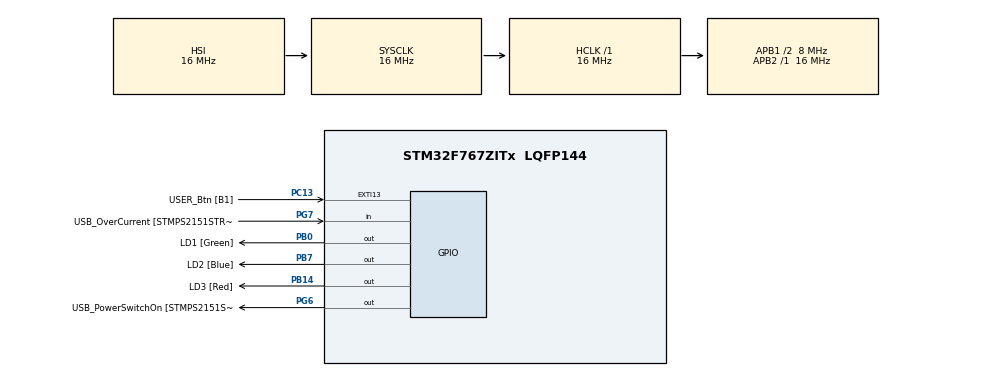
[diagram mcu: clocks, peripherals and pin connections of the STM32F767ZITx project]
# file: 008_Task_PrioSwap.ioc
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Mcu.Family=STM32F7
Mcu.Name=STM32F767ZITx
Mcu.Package=LQFP144
NVIC.EXTI15_10_IRQn=true\:7\:0\:true\:false\:true\:true\:true\:true
NVIC.PriorityGroup=NVIC_PRIORITYGROUP_4
NVIC.TIM6_DAC_IRQn=true\:15\:0\:false\:false\:true\:false\:true\:true
NVIC.TimeBase=TIM6_DAC_IRQn
NVIC.TimeBaseIP=TIM6
PA1.GPIO_Label=RMII_REF_CLK [LAN8742A-CZ-TR_REFCLK0]
PA1.Signal=ETH_REF_CLK
PA10.GPIO_Label=USB_ID
PA10.Signal=USB_OTG_FS_ID
PA11.GPIO_Label=USB_DM
PA11.Signal=USB_OTG_FS_DM
PA12.GPIO_Label=USB_DP
PA12.Signal=USB_OTG_FS_DP
PA13.GPIO_Label=TMS
PA13.Signal=SYS_JTMS-SWDIO
PA14.GPIO_Label=TCK
PA14.Signal=SYS_JTCK-SWCLK
PA2.GPIO_Label=RMII_MDIO [LAN8742A-CZ-TR_MDIO]
PA2.Signal=ETH_MDIO
PA7.GPIO_Label=RMII_CRS_DV [LAN8742A-CZ-TR_CRS_DV]
PA7.Signal=ETH_CRS_DV
PA8.GPIO_Label=USB_SOF [TP1]
PA8.Signal=USB_OTG_FS_SOF
PA9.GPIO_Label=USB_VBUS
PA9.Signal=USB_OTG_FS_VBUS
PB0.GPIO_Label=LD1 [Green]
PB0.Signal=GPIO_Output
PB13.GPIO_Label=RMII_TXD1 [LAN8742A-CZ-TR_TXD1]
PB13.Signal=ETH_TXD1
PB14.GPIO_Label=LD3 [Red]
PB14.Signal=GPIO_Output
PB3.GPIO_Label=SW0
PB3.Signal=SYS_JTDO-SWO
PB7.GPIO_Label=LD2 [Blue]
PB7.Signal=GPIO_Output
PC1.GPIO_Label=RMII_MDC [LAN8742A-CZ-TR_MDC]
PC1.Signal=ETH_MDC
PC13.GPIO_Label=USER_Btn [B1]
PC13.GPIO_ModeDefaultEXTI=GPIO_MODE_IT_FALLING
PC13.Signal=GPXTI13
PC14/OSC32_IN.Signal=RCC_OSC32_IN
PC15/OSC32_OUT.Signal=RCC_OSC32_OUT
PC4.GPIO_Label=RMII_RXD0 [LAN8742A-CZ-TR_RXD0]
PC4.Signal=ETH_RXD0
PC5.GPIO_Label=RMII_RXD1 [LAN8742A-CZ-TR_RXD1]
PC5.Signal=ETH_RXD1
PD8.GPIO_Label=STLK_RX [STM32F103CBT6_PA3]
PD8.Signal=USART3_TX
PD9.GPIO_Label=STLK_TX [STM32F103CBT6_PA2]
PD9.Signal=USART3_RX
PG11.GPIO_Label=RMII_TX_EN [LAN8742A-CZ-TR_TXEN]
PG11.Signal=ETH_TX_EN
PG13.GPIO_Label=RMII_TXD0 [LAN8742A-CZ-TR_TXD0]
PG13.Signal=ETH_TXD0
PG6.GPIO_Label=USB_PowerSwitchOn [STMPS2151STR_EN]
PG6.Signal=GPIO_Output
PG7.GPIO_Label=USB_OverCurrent [STMPS2151STR_FAULT]
PG7.Signal=GPIO_Input
PH0/OSC_IN.GPIO_Label=MCO [STM32F103CBT6_PA8]
PH0/OSC_IN.Signal=RCC_OSC_IN
PH1/OSC_OUT.Signal=RCC_OSC_OUT
ProjectManager.HeapSize=0x200
ProjectManager.StackSize=0x400
ProjectManager.TargetToolchain=STM32CubeIDE
RCC.48MHZClocksFreq_Value=24000000
RCC.AHBFreq_Value=16000000
RCC.APB1CLKDivider=RCC_HCLK_DIV2
RCC.APB1Freq_Value=8000000
RCC.APB1TimFreq_Value=16000000
RCC.APB2Freq_Value=16000000
RCC.APB2TimFreq_Value=16000000
RCC.CortexFreq_Value=16000000
RCC.HCLKFreq_Value=16000000
RCC.HSE_VALUE=16000000
RCC.HSI_VALUE=16000000
RCC.LSE_VALUE=32768
RCC.PLLMUL=RCC_PLL_MUL9
RCC.PRESCALERUSB=RCC_USBCLKSOURCE_PLL_DIV1_5
RCC.SYSCLKFreq_VALUE=16000000
RCC.SYSCLKSourceVirtual=RCC_SYSCLKSOURCE_PLLCLK
RCC.USBFreq_Value=96000000
RCC.VCOOutputFreq_Value=192000000
VP_SYS_VS_tim6.Mode=TIM6
board=NUCLEO-F767ZI

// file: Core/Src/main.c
/* USER CODE BEGIN Header */
/**
 ******************************************************************************
 * @file           : main.c
 * @brief          : Main program body
 ******************************************************************************
 * @attention
 *
 * Copyright (c) 2025 STMicroelectronics.
 * All rights reserved.
 *
 * This software is licensed under terms that can be found in the LICENSE file
 * in the root directory of this software component.
 * If no LICENSE file comes with this software, it is provided AS-IS.
 *
 ******************************************************************************
 */
/* USER CODE END Header */
#include "main.h"

/* USER CODE BEGIN Includes */
#include "stdio.h"
#include "FreeRTOS.h"
#include "task.h"

/* USER CODE END Includes */

/* USER CODE BEGIN PTD */
extern void button_interrupt_handler(void);

/* USER CODE END PTD */

/* USER CODE BEGIN PV */
#define DWT_CTRL					 (*(volatile uint32_t *)0xE0001000)

volatile BaseType_t status_button = 0;

/* USER CODE END PV */

void SystemClock_Config(void);
static void MX_GPIO_Init(void);
/* USER CODE BEGIN PFP */
static void led_green_handler(void* parameters);
static void led_red_handler(void* parameters);

extern void button_interrupt_handler(void);

TaskHandle_t ledg_handle;
TaskHandle_t ledr_handle;

/* USER CODE END PFP */

int main(void)
{

	/* USER CODE BEGIN 1 */

	BaseType_t status;

	/* USER CODE END 1 */

	/* MCU Configuration--------------------------------------------------------*/

	/* Reset of all peripherals, Initializes the Flash interface and the Systick. */
	HAL_Init();

	/* Configure the system clock */
	SystemClock_Config();

	/* Initialize all configured peripherals */
	MX_GPIO_Init();
	/* USER CODE BEGIN 2 */
	/* Enable the CYcle counting */
	DWT_CTRL |= (1 << 0);

	SEGGER_UART_init(250000);

	SEGGER_SYSVIEW_Conf();
	//SEGGER_SYSVIEW_Start();

	status = xTaskCreate(led_green_handler, "G_Task", 200, NULL, 3, &ledg_handle);

	configASSERT(status = pdPASS);

	status = xTaskCreate(led_red_handler, "R_Task", 200, NULL, 2, &ledr_handle);

	configASSERT(status = pdPASS);

	//STart the FreeRTOS Scheduler
	vTaskStartScheduler();

	/* USER CODE END 2 */

	/* Infinite loop */
	while (1)
	{

	}
}

void SystemClock_Config(void)
{
	RCC_OscInitTypeDef RCC_OscInitStruct = {0};
	RCC_ClkInitTypeDef RCC_ClkInitStruct = {0};

	/** Configure the main internal regulator output voltage
	 */
	__HAL_RCC_PWR_CLK_ENABLE();
	__HAL_PWR_VOLTAGESCALING_CONFIG(PWR_REGULATOR_VOLTAGE_SCALE3);

	/** Initializes the RCC Oscillators according to the specified parameters
	 * in the RCC_OscInitTypeDef structure.
	 */
	RCC_OscInitStruct.OscillatorType = RCC_OSCILLATORTYPE_HSI;
	RCC_OscInitStruct.HSIState = RCC_HSI_ON;
	RCC_OscInitStruct.HSICalibrationValue = RCC_HSICALIBRATION_DEFAULT;
	RCC_OscInitStruct.PLL.PLLState = RCC_PLL_NONE;
	if (HAL_RCC_OscConfig(&RCC_OscInitStruct) != HAL_OK)
	{
		Error_Handler();
	}

	/** Initializes the CPU, AHB and APB buses clocks
	 */
	RCC_ClkInitStruct.ClockType = RCC_CLOCKTYPE_HCLK|RCC_CLOCKTYPE_SYSCLK
			|RCC_CLOCKTYPE_PCLK1|RCC_CLOCKTYPE_PCLK2;
	RCC_ClkInitStruct.SYSCLKSource = RCC_SYSCLKSOURCE_HSI;
	RCC_ClkInitStruct.AHBCLKDivider = RCC_SYSCLK_DIV1;
	RCC_ClkInitStruct.APB1CLKDivider = RCC_HCLK_DIV2;
	RCC_ClkInitStruct.APB2CLKDivider = RCC_HCLK_DIV1;

	if (HAL_RCC_ClockConfig(&RCC_ClkInitStruct, FLASH_LATENCY_0) != HAL_OK)
	{
		Error_Handler();
	}
}

static void MX_GPIO_Init(void)
{
	GPIO_InitTypeDef GPIO_InitStruct = {0};

	/* GPIO Ports Clock Enable */
	__HAL_RCC_GPIOC_CLK_ENABLE();
	__HAL_RCC_GPIOH_CLK_ENABLE();
	__HAL_RCC_GPIOA_CLK_ENABLE();
	__HAL_RCC_GPIOB_CLK_ENABLE();
	__HAL_RCC_GPIOD_CLK_ENABLE();
	__HAL_RCC_GPIOG_CLK_ENABLE();

	/*Configure GPIO pin Output Level */
	HAL_GPIO_WritePin(GPIOB, LD1_Pin|LD3_Pin|LD2_Pin, GPIO_PIN_RESET);

	/*Configure GPIO pin Output Level */
	HAL_GPIO_WritePin(USB_PowerSwitchOn_GPIO_Port, USB_PowerSwitchOn_Pin, GPIO_PIN_RESET);

	/*Configure GPIO pin : USER_Btn_Pin */
	GPIO_InitStruct.Pin = USER_Btn_Pin;
	GPIO_InitStruct.Mode = GPIO_MODE_IT_FALLING;
	GPIO_InitStruct.Pull = GPIO_NOPULL;
	HAL_GPIO_Init(USER_Btn_GPIO_Port, &GPIO_InitStruct);

	/*Configure GPIO pins : RMII_MDC_Pin RMII_RXD0_Pin RMII_RXD1_Pin */
	GPIO_InitStruct.Pin = RMII_MDC_Pin|RMII_RXD0_Pin|RMII_RXD1_Pin;
	GPIO_InitStruct.Mode = GPIO_MODE_AF_PP;
	GPIO_InitStruct.Pull = GPIO_NOPULL;
	GPIO_InitStruct.Speed = GPIO_SPEED_FREQ_VERY_HIGH;
	GPIO_InitStruct.Alternate = GPIO_AF11_ETH;
	HAL_GPIO_Init(GPIOC, &GPIO_InitStruct);

	/*Configure GPIO pins : RMII_REF_CLK_Pin RMII_MDIO_Pin RMII_CRS_DV_Pin */
	GPIO_InitStruct.Pin = RMII_REF_CLK_Pin|RMII_MDIO_Pin|RMII_CRS_DV_Pin;
	GPIO_InitStruct.Mode = GPIO_MODE_AF_PP;
	GPIO_InitStruct.Pull = GPIO_NOPULL;
	GPIO_InitStruct.Speed = GPIO_SPEED_FREQ_VERY_HIGH;
	GPIO_InitStruct.Alternate = GPIO_AF11_ETH;
	HAL_GPIO_Init(GPIOA, &GPIO_InitStruct);

	/*Configure GPIO pins : LD1_Pin LD3_Pin LD2_Pin */
	GPIO_InitStruct.Pin = LD1_Pin|LD3_Pin|LD2_Pin;
	GPIO_InitStruct.Mode = GPIO_MODE_OUTPUT_PP;
	GPIO_InitStruct.Pull = GPIO_NOPULL;
	GPIO_InitStruct.Speed = GPIO_SPEED_FREQ_LOW;
	HAL_GPIO_Init(GPIOB, &GPIO_InitStruct);

	/*Configure GPIO pin : RMII_TXD1_Pin */
	GPIO_InitStruct.Pin = RMII_TXD1_Pin;
	GPIO_InitStruct.Mode = GPIO_MODE_AF_PP;
	GPIO_InitStruct.Pull = GPIO_NOPULL;
	GPIO_InitStruct.Speed = GPIO_SPEED_FREQ_VERY_HIGH;
	GPIO_InitStruct.Alternate = GPIO_AF11_ETH;
	HAL_GPIO_Init(RMII_TXD1_GPIO_Port, &GPIO_InitStruct);

	/*Configure GPIO pins : STLK_RX_Pin STLK_TX_Pin */
	GPIO_InitStruct.Pin = STLK_RX_Pin|STLK_TX_Pin;
	GPIO_InitStruct.Mode = GPIO_MODE_AF_PP;
	GPIO_InitStruct.Pull = GPIO_NOPULL;
	GPIO_InitStruct.Speed = GPIO_SPEED_FREQ_VERY_HIGH;
	GPIO_InitStruct.Alternate = GPIO_AF7_USART3;
	HAL_GPIO_Init(GPIOD, &GPIO_InitStruct);

	/*Configure GPIO pin : USB_PowerSwitchOn_Pin */
	GPIO_InitStruct.Pin = USB_PowerSwitchOn_Pin;
	GPIO_InitStruct.Mode = GPIO_MODE_OUTPUT_PP;
	GPIO_InitStruct.Pull = GPIO_NOPULL;
	GPIO_InitStruct.Speed = GPIO_SPEED_FREQ_LOW;
	HAL_GPIO_Init(USB_PowerSwitchOn_GPIO_Port, &GPIO_InitStruct);

	/*Configure GPIO pin : USB_OverCurrent_Pin */
	GPIO_InitStruct.Pin = USB_OverCurrent_Pin;
	GPIO_InitStruct.Mode = GPIO_MODE_INPUT;
	GPIO_InitStruct.Pull = GPIO_NOPULL;
	HAL_GPIO_Init(USB_OverCurrent_GPIO_Port, &GPIO_InitStruct);

	/*Configure GPIO pins : USB_SOF_Pin USB_ID_Pin USB_DM_Pin USB_DP_Pin */
	GPIO_InitStruct.Pin = USB_SOF_Pin|USB_ID_Pin|USB_DM_Pin|USB_DP_Pin;
	GPIO_InitStruct.Mode = GPIO_MODE_AF_PP;
	GPIO_InitStruct.Pull = GPIO_NOPULL;
	GPIO_InitStruct.Speed = GPIO_SPEED_FREQ_VERY_HIGH;
	GPIO_InitStruct.Alternate = GPIO_AF10_OTG_FS;
	HAL_GPIO_Init(GPIOA, &GPIO_InitStruct);

	/*Configure GPIO pin : USB_VBUS_Pin */
	GPIO_InitStruct.Pin = USB_VBUS_Pin;
	GPIO_InitStruct.Mode = GPIO_MODE_INPUT;
	GPIO_InitStruct.Pull = GPIO_NOPULL;
	HAL_GPIO_Init(USB_VBUS_GPIO_Port, &GPIO_InitStruct);

	/*Configure GPIO pins : RMII_TX_EN_Pin RMII_TXD0_Pin */
	GPIO_InitStruct.Pin = RMII_TX_EN_Pin|RMII_TXD0_Pin;
	GPIO_InitStruct.Mode = GPIO_MODE_AF_PP;
	GPIO_InitStruct.Pull = GPIO_NOPULL;
	GPIO_InitStruct.Speed = GPIO_SPEED_FREQ_VERY_HIGH;
	GPIO_InitStruct.Alternate = GPIO_AF11_ETH;
	HAL_GPIO_Init(GPIOG, &GPIO_InitStruct);

	/* EXTI interrupt init*/
	HAL_NVIC_SetPriority(EXTI15_10_IRQn, 7, 0);
	HAL_NVIC_EnableIRQ(EXTI15_10_IRQn);

}

/* USER CODE BEGIN 4 */
void switch_priority(void)
{
	UBaseType_t p1, p2;
	xTaskHandle t1,t2,curr;

	BaseType_t switch_priority = 0;

	portENTER_CRITICAL();
	if (status_button)
	{
		status_button = 0;
		switch_priority = 1;
	}
	portEXIT_CRITICAL();

	if (switch_priority)
	{
		t1 = xTaskGetHandle("G_Task");
		t2 = xTaskGetHandle("R_Task");

		p1 = uxTaskPriorityGet(t1);
		p2 = uxTaskPriorityGet(t2);

		curr = xTaskGetCurrentTaskHandle();

		if (curr == t1)
		{
			vTaskPrioritySet(t1, p2);
			vTaskPrioritySet(t2, p1);
		}

		if (curr == t2)
		{
			vTaskPrioritySet(t2, p1);
			vTaskPrioritySet(t1, p2);

		}
	}
}

void button_interrupt_handler(void)
{
	traceISR_ENTER();
	status_button = 1;
	traceISR_EXIT();
}

static void led_red_handler(void* parameters)
{
	while(1)
	{
		HAL_GPIO_TogglePin(LD2_GPIO_Port, LD2_Pin);
		HAL_Delay(1000);
		switch_priority();
	}
}

static void led_green_handler(void* parameters)
{
	while(1)
	{
		HAL_GPIO_TogglePin(LD1_GPIO_Port, LD1_Pin);
		HAL_Delay(100);
		switch_priority();
	}
}

/* USER CODE END 4 */

void HAL_TIM_PeriodElapsedCallback(TIM_HandleTypeDef *htim)
{
	if (htim->Instance == TIM6) {
		HAL_IncTick();
	}
}

void Error_Handler(void)
{
	__disable_irq();
	while (1)
	{
	}
}
